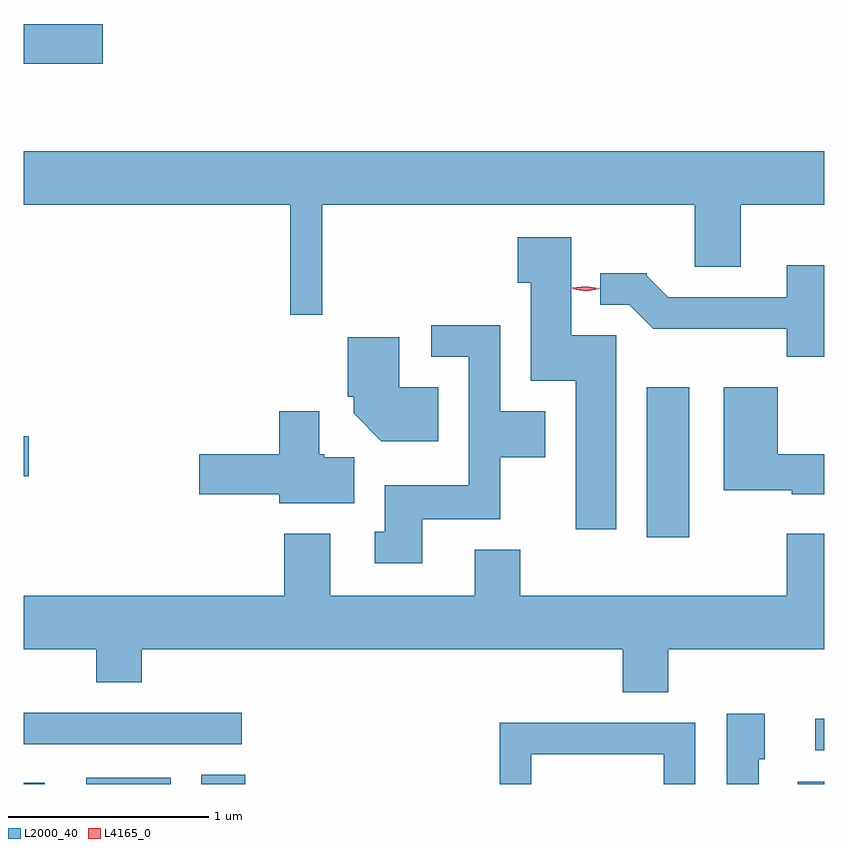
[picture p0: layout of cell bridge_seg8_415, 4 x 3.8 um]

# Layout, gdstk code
import gdstk
lib = gdstk.Library(unit=1e-6, precision=1e-09)
def R(c, l, rs):  # rectangles x0, y0, x1, y1
    for r in rs: c.add(gdstk.rectangle(r[:2], r[2:], *l))
def P(c, l, *ps):  # polygons
    for p in ps: c.add(gdstk.Polygon(p, *l))
L2000_40 = (2000, 40)
L4165_0 = (4165, 0)

bridge_seg8_415 = lib.new_cell('bridge_seg8_415')
R(bridge_seg8_415, L2000_40, [(1001.748,1866.823,1001.854,1866.829), (1002.061,1866.823,1002.484,1866.854), (1002.636,1866.823,1002.854,1866.869), (1005.616,1866.823,1005.748,1866.834), (1005.703,1866.991,1005.748,1867.149), (1001.748,1867.021,1002.838,1867.179), (1004.861,1868.056,1005.074,1868.804), (1001.748,1868.361,1001.774,1868.559), (1001.748,1870.421,1002.144,1870.619)])
P(bridge_seg8_415, L2000_40, [(1003.239,1869.716),(1005.101,1869.716),(1005.101,1869.406),(1005.329,1869.406),(1005.329,1869.716),(1005.748,1869.716),(1005.748,1869.984),(1001.748,1869.984),(1001.748,1869.716),(1003.081,1869.716),(1003.081,1869.168),(1003.239,1869.168)],
  [(1004.709,1869.064),(1004.484,1869.064),(1004.484,1869.554),(1004.216,1869.554),(1004.216,1869.326),(1004.281,1869.326),(1004.281,1868.836),(1004.506,1868.836),(1004.506,1868.096),(1004.709,1868.096)],
  [(1005.748,1869.414),(1005.561,1869.414),(1005.561,1869.254),(1004.967,1869.254),(1004.86,1869.361),(1004.86,1869.374),(1004.628,1869.374),(1004.628,1869.216),(1004.774,1869.216),(1004.894,1869.096),(1005.561,1869.096),(1005.561,1868.956),(1005.748,1868.956)],
  [(1003.739,1868.146),(1004.129,1868.146),(1004.129,1868.456),(1004.354,1868.456),(1004.354,1868.684),(1004.129,1868.684),(1004.129,1869.114),(1003.783,1869.114),(1003.783,1868.956),(1003.971,1868.956),(1003.971,1868.314),(1003.551,1868.314),(1003.551,1868.084),(1003.503,1868.084),(1003.503,1867.926),(1003.739,1867.926)],
  [(1003.819,1868.804),(1003.624,1868.804),(1003.624,1869.054),(1003.366,1869.054),(1003.366,1868.756),(1003.396,1868.756),(1003.396,1868.674),(1003.534,1868.536),(1003.819,1868.536)],
  [(1005.748,1868.469),(1005.514,1868.469),(1005.514,1868.804),(1005.246,1868.804),(1005.246,1868.291),(1005.586,1868.291),(1005.586,1868.271),(1005.748,1868.271)],
  [(1003.399,1868.454),(1003.25,1868.454),(1003.25,1868.469),(1003.224,1868.469),(1003.224,1868.684),(1003.026,1868.684),(1003.026,1868.469),(1002.626,1868.469),(1002.626,1868.271),(1003.026,1868.271),(1003.026,1868.226),(1003.399,1868.226)],
  [(1004.969,1867.496),(1005.748,1867.496),(1005.748,1868.074),(1005.561,1868.074),(1005.561,1867.764),(1004.229,1867.764),(1004.229,1867.994),(1004.001,1867.994),(1004.001,1867.764),(1003.279,1867.764),(1003.279,1868.074),(1003.051,1868.074),(1003.051,1867.764),(1001.748,1867.764),(1001.748,1867.496),(1002.111,1867.496),(1002.111,1867.331),(1002.339,1867.331),(1002.339,1867.496),(1004.741,1867.496),(1004.741,1867.281),(1004.969,1867.281)],
  [(1005.419,1866.946),(1005.449,1866.946),(1005.449,1867.174),(1005.261,1867.174),(1005.261,1866.823),(1005.419,1866.823)],
  [(1004.284,1866.971),(1004.946,1866.971),(1004.946,1866.823),(1005.104,1866.823),(1005.104,1867.129),(1004.126,1867.129),(1004.126,1866.823),(1004.284,1866.823)])
P(bridge_seg8_415, L4165_0, [(1004.556,1869.284),(1004.49,1869.293),(1004.49,1869.294),(1004.49,1869.294),(1004.556,1869.304),(1004.621,1869.294),(1004.622,1869.294),(1004.621,1869.293)],
  [(1004.556,1869.289),(1004.488,1869.3),(1004.488,1869.301),(1004.488,1869.301),(1004.556,1869.309),(1004.624,1869.298),(1004.625,1869.298),(1004.624,1869.298)])

lib.write_gds('bridge_seg8_415.gds')
